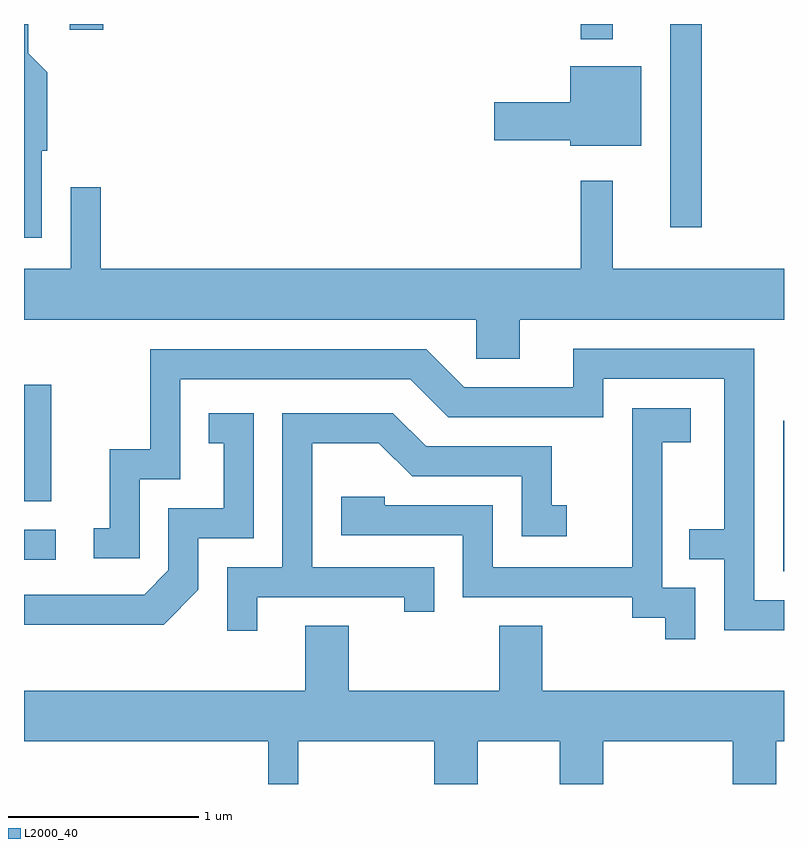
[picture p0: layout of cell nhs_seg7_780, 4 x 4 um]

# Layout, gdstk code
import gdstk
lib = gdstk.Library(unit=1e-6, precision=1e-09)
def R(c, l, rs):  # rectangles x0, y0, x1, y1
    for r in rs: c.add(gdstk.rectangle(r[:2], r[2:], *l))
def P(c, l, *ps):  # polygons
    for p in ps: c.add(gdstk.Polygon(p, *l))
L2000_40 = (2000, 40)

nhs_seg7_780 = lib.new_cell('nhs_seg7_780')
R(nhs_seg7_780, L2000_40, [(211.606,1777.371,211.611,1778.164), (207.611,1777.431,207.778,1777.589), (207.611,1777.741,207.754,1778.354), (211.011,1779.183,211.179,1780.252), (210.541,1780.173,210.709,1780.252), (207.851,1780.221,208.029,1780.252)])
P(nhs_seg7_780, L2000_40, [(207.704,1779.586),(207.734,1779.586),(207.734,1779.997),(207.634,1780.097),(207.634,1780.252),(207.611,1780.252),(207.611,1779.126),(207.704,1779.126)],
  [(210.859,1780.029),(210.486,1780.029),(210.486,1779.839),(210.086,1779.839),(210.086,1779.641),(210.486,1779.641),(210.486,1779.611),(210.859,1779.611)],
  [(210.219,1778.696),(211.611,1778.696),(211.611,1778.964),(210.709,1778.964),(210.709,1779.428),(210.541,1779.428),(210.541,1778.964),(208.014,1778.964),(208.014,1779.393),(207.856,1779.393),(207.856,1778.964),(207.611,1778.964),(207.611,1778.696),(209.991,1778.696),(209.991,1778.491),(210.219,1778.491)],
  [(211.611,1777.219),(211.454,1777.219),(211.454,1778.544),(210.501,1778.544),(210.501,1778.339),(209.927,1778.339),(209.727,1778.539),(208.276,1778.539),(208.276,1778.014),(208.061,1778.014),(208.061,1777.599),(207.978,1777.599),(207.978,1777.441),(208.219,1777.441),(208.219,1777.856),(208.434,1777.856),(208.434,1778.381),(209.644,1778.381),(209.844,1778.181),(210.659,1778.181),(210.659,1778.386),(211.296,1778.386),(211.296,1777.594),(211.113,1777.594),(211.113,1777.436),(211.296,1777.436),(211.296,1777.061),(211.611,1777.061)],
  [(211.144,1777.284),(210.969,1777.284),(210.969,1778.051),(211.119,1778.051),(211.119,1778.229),(210.811,1778.229),(210.811,1777.394),(210.079,1777.394),(210.079,1777.719),(209.509,1777.719),(209.509,1777.764),(209.281,1777.764),(209.281,1777.561),(209.921,1777.561),(209.921,1777.236),(210.811,1777.236),(210.811,1777.126),(210.986,1777.126),(210.986,1777.013),(211.144,1777.013)],
  [(208.839,1777.236),(209.611,1777.236),(209.611,1777.158),(209.769,1777.158),(209.769,1777.394),(209.129,1777.394),(209.129,1778.046),(209.479,1778.046),(209.654,1777.871),(210.231,1777.871),(210.231,1777.556),(210.468,1777.556),(210.468,1777.719),(210.389,1777.719),(210.389,1778.029),(209.727,1778.029),(209.552,1778.204),(208.971,1778.204),(208.971,1777.394),(208.681,1777.394),(208.681,1777.058),(208.839,1777.058)],
  [(208.529,1777.274),(208.529,1777.546),(208.819,1777.546),(208.819,1778.204),(208.583,1778.204),(208.583,1778.046),(208.661,1778.046),(208.661,1777.704),(208.371,1777.704),(208.371,1777.377),(208.244,1777.249),(207.611,1777.249),(207.611,1777.091),(208.347,1777.091)],
  [(209.054,1776.476),(209.771,1776.476),(209.771,1776.252),(209.999,1776.252),(209.999,1776.476),(210.431,1776.476),(210.431,1776.252),(210.659,1776.252),(210.659,1776.476),(211.341,1776.476),(211.341,1776.252),(211.569,1776.252),(211.569,1776.476),(211.611,1776.476),(211.611,1776.744),(210.339,1776.744),(210.339,1777.084),(210.111,1777.084),(210.111,1776.744),(209.319,1776.744),(209.319,1777.084),(209.091,1777.084),(209.091,1776.744),(207.611,1776.744),(207.611,1776.476),(208.896,1776.476),(208.896,1776.252),(209.054,1776.252)])

lib.write_gds('nhs_seg7_780.gds')
